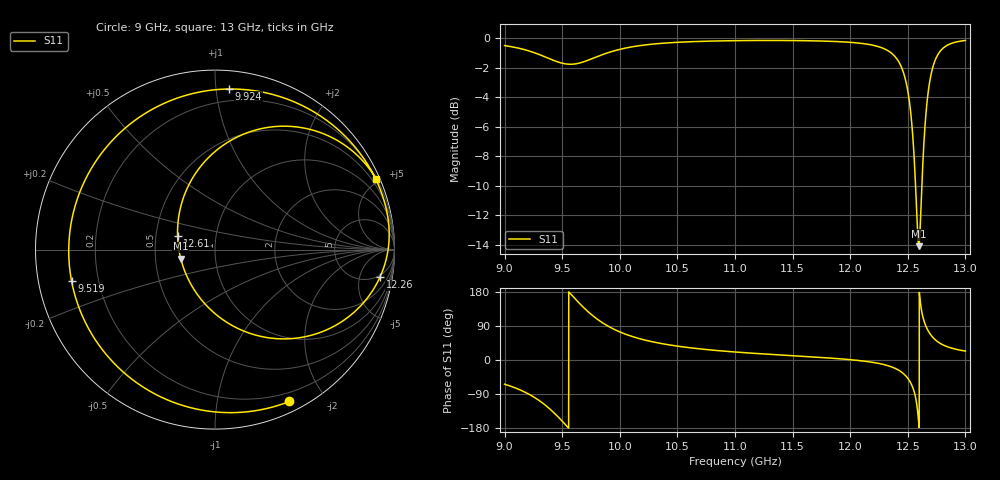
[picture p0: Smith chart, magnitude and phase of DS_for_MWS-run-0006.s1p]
! TOUCHSTONE file generated by CST DESIGN STUDIO
! Date and time: Wed Feb  5 13:32:15 2025
! Project name: C:\Work\MatlabApps\UnitCellOptimizationMatlab\CST\unitcell.cst
! Tree item: Tasks\Sweep1\SPara1\S-Parameters
! Header version: 2024
! Port assignment regex: !\s*Touchstone port\s*([0-9]+)\s*=\s*(CST MWS port|CST DES external port|CST DES block port)\s*(.+)\s* \(\"(.*)\"\)(\s*mode\s*([0-9]+))?.*
! Touchstone port assignment:
! Touchstone port 1 = CST DES external port 1 ("")
# GHz S MA R 50
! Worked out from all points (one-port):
!   4001 points, 9 GHz to 13 GHz, reference 50 ohm
!   lowest |S11| = -14.1 dB at 12.6 GHz (marker M1), VSWR 1.49, Z = 33.8 - j3.55 ohm
!   |S11| at or under -10 dB: 12.56732 GHz to 12.62208 GHz (54.75 MHz wide, 0.435 % of centre)
!   S11 on the Smith chart (normalised r, x): 9 GHz: 0.11, -1.60; 9.519 GHz: 0.10, -0.11; 9.924 GHz: 0.12, +1.08; 12.26 GHz: 4, -10; 12.61 GHz: 0.65, +0.10; 13 GHz: 0.24, +4.79
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9  0.9422 -63.9
9.145  0.9189 -80.3
9.295  0.8807 -105.9
9.397  0.8482 -130.5
9.5  0.8212 -161.4
9.519  0.8182 -167.6
9.614  0.817 160.9
9.726  0.8412 127.1
9.817  0.8686 105.0
9.924  0.8982 85.1
10  0.9151 74.1
10.216  0.9468 52.8
10.5  0.9667 36.6
11  0.9792 21.1
11.5  0.98 11.3
12  0.9666 0.9
12.255  0.932 -9.5
12.407  0.8474 -24.6
12.457  0.7744 -34.6
12.5  0.6618 -48.4
12.55  0.4253 -78.5
12.595  0.1973 -165.2
12.606  0.2214 160.4
12.654  0.533 91.7
12.702  0.7527 65.3
12.753  0.8669 49.7
12.813  0.9281 38.8
13  0.9806 23.5
